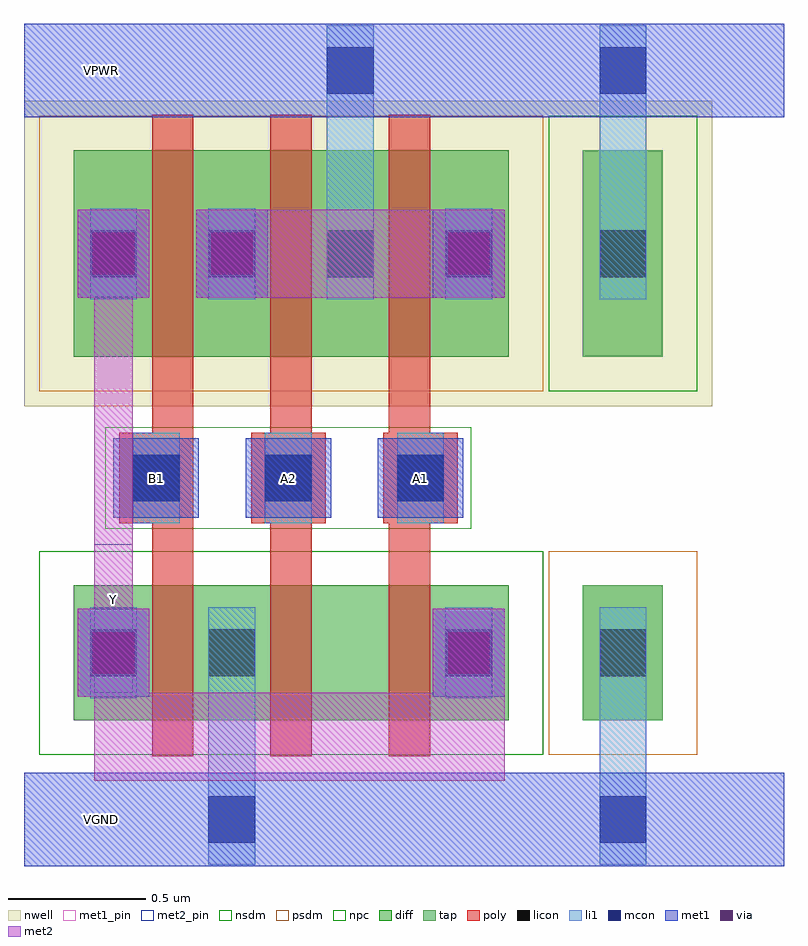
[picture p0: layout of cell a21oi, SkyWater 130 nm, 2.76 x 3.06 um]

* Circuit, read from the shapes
.subckt a21oi A1 A2 B1 VGND VPWR Y
XM1 VGND B1 Y VGND sky130_fd_pr__nfet_01v8 w=0.49 l=0.15
XM2 n1 A2 VGND VGND sky130_fd_pr__nfet_01v8 w=0.49 l=0.15
XM3 Y A1 n1 VGND sky130_fd_pr__nfet_01v8 w=0.49 l=0.15
XM4 n2 B1 Y VPWR sky130_fd_pr__pfet_01v8 w=0.75 l=0.15
XM5 VPWR A2 n2 VPWR sky130_fd_pr__pfet_01v8 w=0.75 l=0.15
XM6 n2 A1 VPWR VPWR sky130_fd_pr__pfet_01v8 w=0.75 l=0.15
.ends

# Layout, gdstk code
import gdstk
lib = gdstk.Library(unit=1e-6, precision=1e-09)
def R(c, l, rs):  # rectangles x0, y0, x1, y1
    for r in rs: c.add(gdstk.rectangle(r[:2], r[2:], *l))
def A(c, l, x, y, w, h, nx, ny, dx, dy):  # array of equal rectangles
    R(c, l, [(x+i*dx, y+j*dy, x+i*dx+w, y+j*dy+h) for i in range(nx) for j in range(ny)])
nwell = (64, 20)
diff = (65, 20)
tap = (65, 44)
poly = (66, 20)
licon = (66, 44)
li1 = (67, 20)
mcon = (67, 44)
met1_pin = (68, 16)
met1 = (68, 20)
via = (68, 44)
met2_pin = (69, 16)
met2 = (69, 20)
nsdm = (93, 44)
psdm = (94, 20)
npc = (95, 20)

a21oi = lib.new_cell('a21oi')
R(a21oi, nwell, [(0,1.5,2.5,2.61)])
R(a21oi, diff, [(0.18,0.36,1.76,0.85), (2.03,0.36,2.32,0.85), (0.18,1.68,1.76,2.43), (2.03,1.68,2.32,2.43)])
R(a21oi, tap, [(2.03,0.36,2.32,0.85), (2.03,1.68,2.32,2.43)])
A(a21oi, poly, 0.465, 0.23, 0.15, 2.33, 3, 1, 0.43, 0)
A(a21oi, poly, 0.345, 1.075, 0.27, 0.33, 3, 1, 0.48, 0)
A(a21oi, licon, 0.395, 1.155, 0.17, 0.17, 3, 1, 0.48, 0)
A(a21oi, licon, 0.24, 1.97, 0.17, 0.17, 4, 1, 0.43, 0)
R(a21oi, licon, [(0.24,0.52,0.41,0.69), (0.67,0.52,0.84,0.69), (1.53,0.52,1.7,0.69), (2.09,0.52,2.26,0.69), (2.09,1.97,2.26,2.14)])
A(a21oi, li1, 0.395, 1.075, 0.17, 0.33, 3, 1, 0.48, 0)
R(a21oi, li1, [(0.67,-0.165,0.84,0.77), (2.09,-0.165,2.26,0.77), (0.24,0.44,0.41,0.77), (1.53,0.44,1.7,0.77), (0.24,1.89,0.41,2.22), (0.67,1.89,0.84,2.22), (1.1,1.89,1.27,2.885), (1.53,1.89,1.7,2.22), (2.09,1.89,2.26,2.885)])
A(a21oi, mcon, 0.395, 1.155, 0.17, 0.17, 3, 1, 0.48, 0)
R(a21oi, mcon, [(0.67,-0.085,0.84,0.085), (2.09,-0.085,2.26,0.085), (0.24,0.52,0.41,0.69), (1.53,0.52,1.7,0.69), (0.24,1.97,0.41,2.14), (0.67,1.97,0.84,2.14), (1.53,1.97,1.7,2.14), (1.1,2.635,1.27,2.805), (2.09,2.635,2.26,2.805)])
A(a21oi, met1_pin, 0.325, 1.095, 0.31, 0.29, 3, 1, 0.48, 0)
R(a21oi, met1_pin, [(0,-0.17,2.76,0.17), (0,2.55,2.76,2.89)])
A(a21oi, met1, 0.325, 1.095, 0.31, 0.29, 3, 1, 0.48, 0)
R(a21oi, met1, [(0,-0.17,2.76,0.17), (0.195,0.445,0.455,0.765), (1.485,0.445,1.745,0.765), (0.195,1.895,0.455,2.215), (0.625,1.895,0.885,2.215), (1.485,1.895,1.745,2.215), (0,2.55,2.76,2.89)])
R(a21oi, via, [(0.25,0.53,0.4,0.68), (1.54,0.53,1.69,0.68), (0.25,1.98,0.4,2.13), (0.68,1.98,0.83,2.13), (1.54,1.98,1.69,2.13)])
R(a21oi, met2_pin, [(0.255,0.46,0.395,1)])
R(a21oi, met2, [(0.255,0.14,1.745,0.46), (1.485,0.14,1.745,0.765), (0.195,0.445,0.455,0.765), (0.255,0.46,0.395,2.215), (0.195,1.895,0.455,2.215), (0.625,1.895,1.745,2.215)])
R(a21oi, nsdm, [(0.055,0.235,1.885,0.975), (1.905,1.555,2.445,2.555)])
R(a21oi, psdm, [(1.905,0.235,2.445,0.975), (0.055,1.555,1.885,2.555)])
R(a21oi, npc, [(0.295,1.055,1.625,1.425)])
a21oi.add(gdstk.Label('VGND', (0.28,0), layer=68, texttype=16))
a21oi.add(gdstk.Label('VPWR', (0.28,2.72), layer=68, texttype=16))
a21oi.add(gdstk.Label('B1', (0.48,1.24), layer=68, texttype=16))
a21oi.add(gdstk.Label('A2', (0.96,1.24), layer=68, texttype=16))
a21oi.add(gdstk.Label('A1', (1.44,1.24), layer=68, texttype=16))
a21oi.add(gdstk.Label('Y', (0.325,0.8), layer=69, texttype=16))
a21oi.add(gdstk.Label('VGND', (0.28,0), layer=68, texttype=5))
a21oi.add(gdstk.Label('VPWR', (0.28,2.72), layer=68, texttype=5))
a21oi.add(gdstk.Label('B1', (0.48,1.24), layer=68, texttype=5))
a21oi.add(gdstk.Label('A2', (0.96,1.24), layer=68, texttype=5))
a21oi.add(gdstk.Label('A1', (1.44,1.24), layer=68, texttype=5))
a21oi.add(gdstk.Label('Y', (0.325,0.8), layer=69, texttype=5))

lib.write_gds('a21oi.gds')
